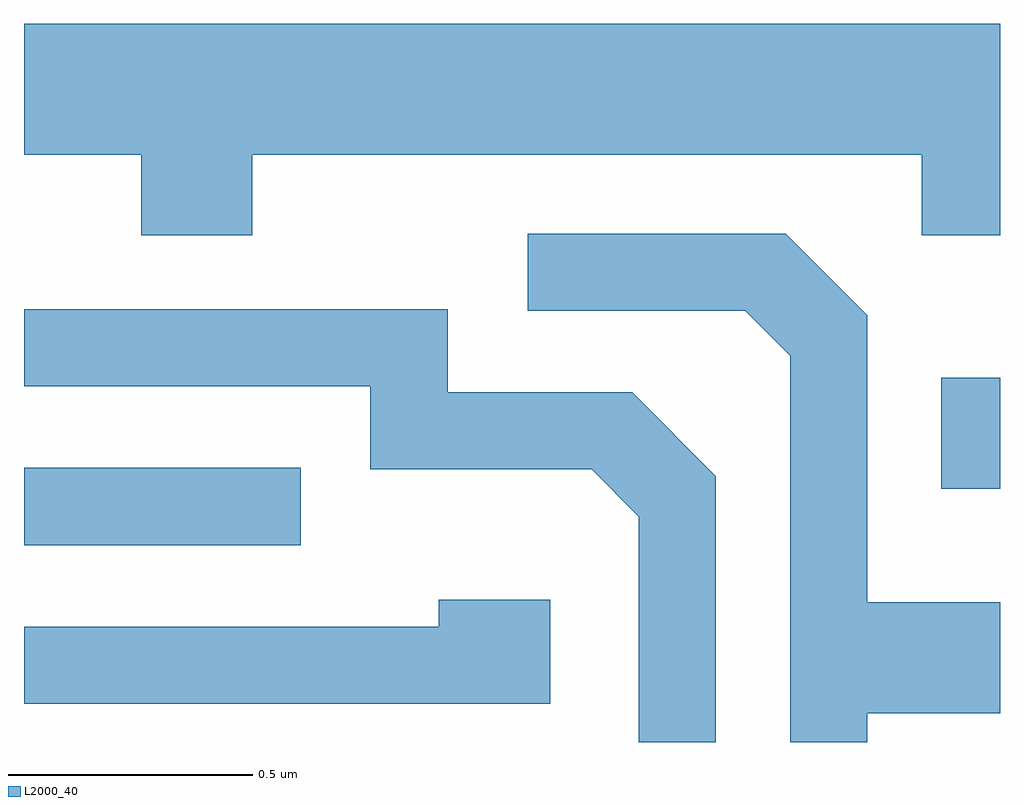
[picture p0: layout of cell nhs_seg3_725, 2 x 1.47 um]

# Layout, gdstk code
import gdstk
lib = gdstk.Library(unit=1e-6, precision=1e-09)
def R(c, l, rs):  # rectangles x0, y0, x1, y1
    for r in rs: c.add(gdstk.rectangle(r[:2], r[2:], *l))
def P(c, l, *ps):  # polygons
    for p in ps: c.add(gdstk.Polygon(p, *l))
L2000_40 = (2000, 40)

nhs_seg3_725 = lib.new_cell('nhs_seg3_725')
R(nhs_seg3_725, L2000_40, [(190.611,1156.296,191.178,1156.454), (192.491,1156.411,192.611,1156.639)])
P(nhs_seg3_725, L2000_40, [(191.079,1157.096),(192.451,1157.096),(192.451,1156.931),(192.611,1156.931),(192.611,1157.364),(190.611,1157.364),(190.611,1157.096),(190.851,1157.096),(190.851,1156.931),(191.079,1156.931)],
  [(192.339,1155.951),(192.611,1155.951),(192.611,1156.179),(192.339,1156.179),(192.339,1156.767),(192.172,1156.934),(191.643,1156.934),(191.643,1156.776),(192.089,1156.776),(192.181,1156.684),(192.181,1155.892),(192.339,1155.892)],
  [(192.029,1156.437),(191.857,1156.609),(191.479,1156.609),(191.479,1156.779),(190.611,1156.779),(190.611,1156.621),(191.321,1156.621),(191.321,1156.451),(191.774,1156.451),(191.871,1156.354),(191.871,1155.892),(192.029,1155.892)],
  [(191.689,1156.184),(191.461,1156.184),(191.461,1156.129),(190.611,1156.129),(190.611,1155.971),(191.689,1155.971)])

lib.write_gds('nhs_seg3_725.gds')
